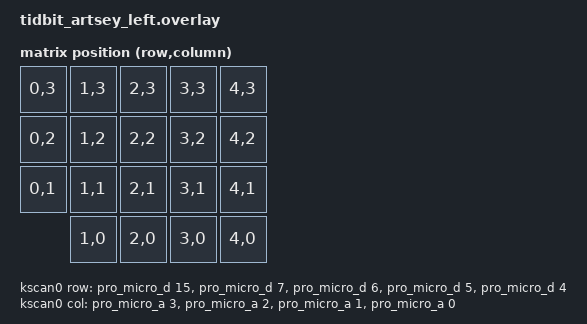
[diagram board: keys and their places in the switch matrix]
/*
 * Copyright (c) 2021 Mike "KemoNine" Crosson
 *
 * SPDX-License-Identifier: MIT
 */

#include <dt-bindings/zmk/matrix_transform.h>

/ {
	kscan0: kscan {
		compatible = "zmk,kscan-gpio-matrix";
		label = "KSCAN";

		diode-direction = "row2col";

		row-gpios
			= <&pro_micro_d 15 (GPIO_ACTIVE_HIGH | GPIO_PULL_DOWN)>
			, <&pro_micro_d 7 (GPIO_ACTIVE_HIGH | GPIO_PULL_DOWN)>
			, <&pro_micro_d 6 (GPIO_ACTIVE_HIGH | GPIO_PULL_DOWN)>
			, <&pro_micro_d 5 (GPIO_ACTIVE_HIGH | GPIO_PULL_DOWN)>
			, <&pro_micro_d 4 (GPIO_ACTIVE_HIGH | GPIO_PULL_DOWN)>
			;

		col-gpios
			= <&pro_micro_a 3 (GPIO_ACTIVE_HIGH | GPIO_PULL_DOWN)>
			, <&pro_micro_a 2 (GPIO_ACTIVE_HIGH | GPIO_PULL_DOWN)>
			, <&pro_micro_a 1 (GPIO_ACTIVE_HIGH | GPIO_PULL_DOWN)>
			, <&pro_micro_a 0 (GPIO_ACTIVE_HIGH | GPIO_PULL_DOWN)>
			;

	};

	default_transform: keymap_transform_0 {
		compatible = "zmk,matrix-transform";
		columns = <4>;
		rows = <5>;

		map = <
			RC(0,3) RC(1,3) RC(2,3) RC(3,3) RC(4,3)
			RC(0,2) RC(1,2) RC(2,2) RC(3,2) RC(4,2)
			RC(0,1) RC(1,1) RC(2,1) RC(3,1) RC(4,1)
			        RC(1,0) RC(2,0) RC(3,0) RC(4,0)
		>;
	};

	chosen {
		zmk,kscan = &kscan0;
		zmk,matrix_transform = &default_transform;
	};
};

&pro_micro_i2c {
	status = "okay";

	oled: ssd1306@3c {
		compatible = "solomon,ssd1306fb";
		reg = <0x3c>;
		label = "DISPLAY";
		width = <128>;
		height = <32>;
		segment-offset = <0>;
		page-offset = <0>;
		display-offset = <0>;
		multiplex-ratio = <31>;
		segment-remap;
		com-invdir;
		com-sequential;
		prechargep = <0x22>;
	};
};
